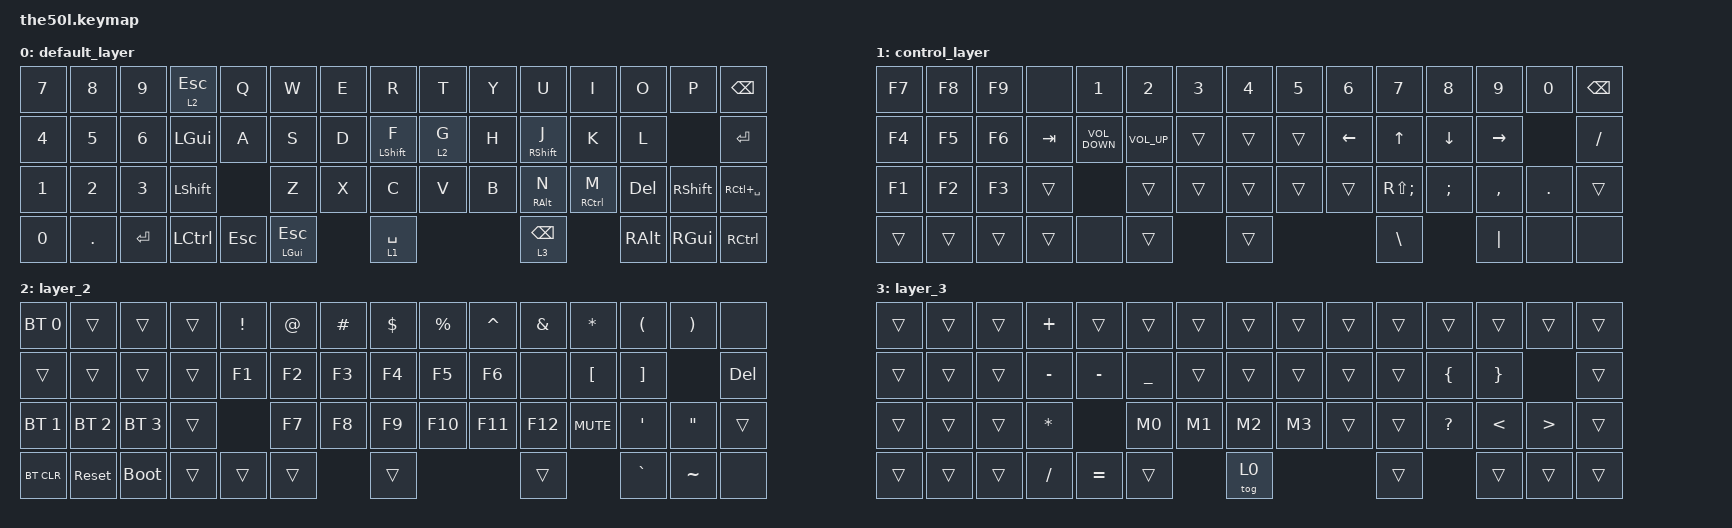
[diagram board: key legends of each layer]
/*
 * Copyright (c) 2023 LAZYDESIGNERS
 *
 * SPDX-License-Identifier: MIT
 */

#include <behaviors.dtsi>
#include <dt-bindings/zmk/bt.h>
#include <dt-bindings/zmk/keys.h>

/ {
    macros {
        M4: M4 {
            compatible = "zmk,behavior-macro";
            label = "M4";
            #binding-cells = <0>;
            bindings = <&macro_press>, <&kp RCTRL &kp SPACE>, <&macro_release>;
        };
        M0: M0 {
            compatible = "zmk,behavior-macro";
            label = "M0";
            #binding-cells = <0>;
            bindings = <&kp L &kp A &kp N &kp R &kp U &kp M &kp E &kp N &kp G>;
        };
        M1: M1 {
            compatible = "zmk,behavior-macro";
            label = "M1";
            #binding-cells = <0>;
            bindings = <&kp LS(M) &kp S &kp C &kp N5 &kp N8 &kp N7 &kp N0 &kp N7 &kp N0 &kp N2 &kp M &kp W>;
        };
        M2: M2 {
            compatible = "zmk,behavior-macro";
            label = "M2";
            #binding-cells = <0>;
            bindings = <&kp LS(M) &kp S &kp C &kp N5 &kp N8 &kp N7 &kp N0 &kp N7 &kp N0 &kp N2 &kp EXCL>;
        };
        M3: M3 {
            compatible = "zmk,behavior-macro";
            label = "M3";
            #binding-cells = <0>;
            bindings = <&kp N5 &kp N8 &kp N7 &kp N0 &kp N7 &kp N0 &kp N2 &kp M &kp S &kp C>;
        };
    };

    behaviors {
        fs: fs {
            compatible = "zmk,behavior-hold-tap";
            label = "FS";
            bindings = <&kp>, <&kp>;

            #binding-cells = <2>;
            tapping-term-ms = <180>;
            flavor = "tap-preferred";
            hold-trigger-key-positions = <22>;
        };
        g2: g2 {
            compatible = "zmk,behavior-hold-tap";
            label = "G2";
            bindings = <&mo>, <&kp>;

            #binding-cells = <2>;
            tapping-term-ms = <180>;
            flavor = "tap-preferred";
            hold-trigger-key-positions = <23>;
        };
        js: js {
            compatible = "zmk,behavior-hold-tap";
            label = "JS";
            bindings = <&kp>, <&kp>;

            #binding-cells = <2>;
            tapping-term-ms = <180>;
            flavor = "tap-preferred";
            hold-trigger-key-positions = <25>;
        };
        nalt: nalt {
            compatible = "zmk,behavior-hold-tap";
            label = "NALT";
            bindings = <&kp>, <&kp>;

            #binding-cells = <2>;
            hold-trigger-key-positions = <38>;
            flavor = "tap-preferred";
            tapping-term-ms = <180>;
        };
        mctrl: mctrl {
            compatible = "zmk,behavior-hold-tap";
            label = "MCTRL";
            bindings = <&kp>, <&kp>;

            #binding-cells = <2>;
            hold-trigger-key-positions = <39>;
            tapping-term-ms = <180>;
        };
    };

    keymap {
        compatible = "zmk,keymap";

        default_layer {
            // ---------------------------------------------------------------------------------------------
            // | 7  |  8  |  9  | ESC |  Q  |  W  |  E  |  R  |  T  |  Y  |  U  |  I  |  O  |  P  |  BSPC  |
            // | 4  |  5  |  6  | TAB  |  A  |  S  |  D  |  F  |  G  |  H  |  J  |  K  |  L  |    ENTER    |
            // | 1  |  2  |  3  | SHIFT  |  Z  |  X  |  C  |  V  |  B  |  N  |  M  |  ,  |  UP  |  SHIFT   |
            // | 0  |  .  |ENTER| CTL  |  WIN  |  ALT  |    SPACE   |    SPACE   |  LEFT | DOWN  |  RIGHT  |
            // ---------------------------------------------------------------------------------------------

            bindings = <
&kp N7  &kp N8   &kp N9     &lt 2 ESCAPE  &kp Q       &kp W         &kp E  &kp R         &kp T    &kp Y  &kp U              &kp I           &kp O          &kp P          &kp BSPC
&kp N4  &kp N5   &kp N6     &kp LEFT_GUI  &kp A       &kp S         &kp D  &fs LSHIFT F  &g2 2 G  &kp H  &js RSHIFT J       &kp K           &kp L                         &kp RET
&kp N1  &kp N2   &kp N3     &kp LSHFT                 &kp Z         &kp X  &kp C         &kp V    &kp B  &nalt RIGHT_ALT N  &mctrl RCTRL M  &kp DEL        &kp RSHIFT     &kp RC(SPACE)
&kp N0  &kp DOT  &kp ENTER  &kp LCTRL     &kp ESCAPE  &mt LGUI ESC         &lt 1 SPACE                   &lt 3 BACKSPACE                    &kp RIGHT_ALT  &kp RIGHT_GUI  &kp RCTRL
            >;
        };

        control_layer {
            // ---------------------------------------------------------------------------------------------
            // | 7  |  8  |  9  | ESC |  Q  |  W  |  E  |  R  |  T  |  Y  |  U  |  I  |  O  |  P  |  BSPC  |
            // | 4  |  5  |  6  | TAB  |  A  |  S  |  D  |  F  |  G  |  H  |  J  |  K  |  L  |    ENTER    |
            // | 1  |  2  |  3  | SHIFT  |  Z  |  X  |  C  |  V  |  B  |  N  |  M  |  ,  |  UP  |  SHIFT   |
            // | 0  |  .  |ENTER| CTL  |  WIN  |  ALT  |    SPACE   |    SPACE   |  LEFT | DOWN  |  RIGHT  |
            // ---------------------------------------------------------------------------------------------

            bindings = <
&kp F7  &kp F8  &kp F9  &none    &kp N1             &kp N2           &kp N3  &kp N4  &kp N5  &kp N6    &kp N7         &kp N8    &kp N9     &kp N0      &kp BACKSPACE
&kp F4  &kp F5  &kp F6  &kp TAB  &kp C_VOLUME_DOWN  &kp C_VOLUME_UP  &trans  &trans  &trans  &kp LEFT  &kp UP         &kp DOWN  &kp RIGHT              &kp SLASH
&kp F1  &kp F2  &kp F3  &trans                      &trans           &trans  &trans  &trans  &trans    &kp RS(SEMI)   &kp SEMI  &kp COMMA  &kp PERIOD  &trans
&trans  &trans  &trans  &trans   &none              &trans                   &trans                    &kp BACKSLASH            &kp PIPE   &none       &none
            >;
        };

        layer_2 {
            bindings = <
&bt BT_SEL 0  &trans        &trans        &trans  &kp EXCLAMATION  &kp AT  &kp HASH  &kp DOLLAR  &kp PERCENT  &kp CARET  &kp AMPERSAND  &kp STAR          &kp LEFT_PARENTHESIS  &kp RIGHT_PARENTHESIS  &none
&trans        &trans        &trans        &trans  &kp F1           &kp F2  &kp F3    &kp F4      &kp F5       &kp F6     &none          &kp LEFT_BRACKET  &kp RIGHT_BRACKET                            &kp DELETE
&bt BT_SEL 1  &bt BT_SEL 2  &bt BT_SEL 3  &trans                   &kp F7  &kp F8    &kp F9      &kp F10      &kp F11    &kp F12        &kp C_MUTE        &kp APOS              &kp DOUBLE_QUOTES      &trans
&bt BT_CLR    &sys_reset    &bootloader   &trans  &trans           &trans            &trans                              &trans                           &kp GRAVE             &kp TILDE              &none
            >;
        };

        layer_3 {
            bindings = <
&trans  &trans  &trans  &kp PLUS      &trans     &trans     &trans  &trans  &trans  &trans  &trans  &trans          &trans           &trans            &trans
&trans  &trans  &trans  &kp MINUS     &kp MINUS  &kp UNDER  &trans  &trans  &trans  &trans  &trans  &kp LEFT_BRACE  &kp RIGHT_BRACE                    &trans
&trans  &trans  &trans  &kp ASTERISK             &M0        &M1     &M2     &M3     &trans  &trans  &kp QUESTION    &kp LESS_THAN    &kp GREATER_THAN  &trans
&trans  &trans  &trans  &kp SLASH     &kp EQUAL  &trans             &tog 0                  &trans                  &trans           &trans            &trans
            >;
        };
    };
};
